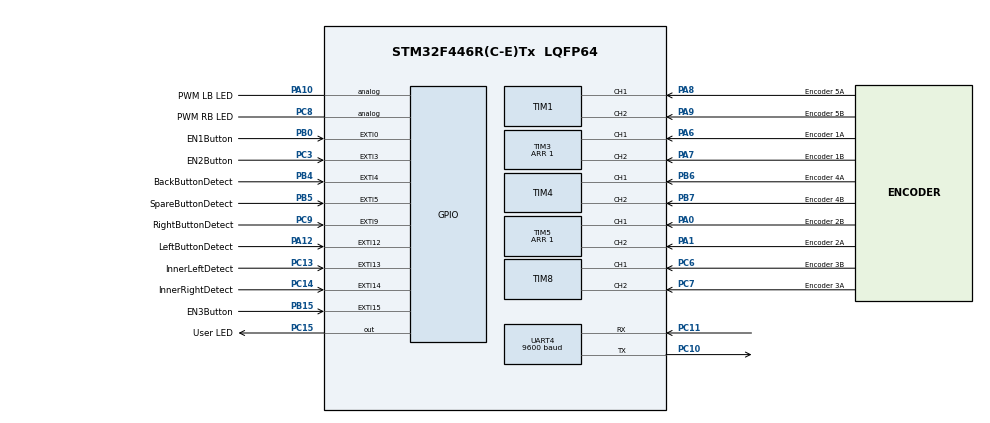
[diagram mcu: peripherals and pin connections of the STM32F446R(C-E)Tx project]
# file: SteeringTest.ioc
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Mcu.Family=STM32F4
Mcu.Name=STM32F446R(C-E)Tx
Mcu.Package=LQFP64
NVIC.EXTI0_IRQn=true\:0\:0\:false\:false\:true\:true\:true\:true
NVIC.EXTI15_10_IRQn=true\:0\:0\:false\:false\:true\:true\:true\:true
NVIC.EXTI3_IRQn=true\:0\:0\:false\:false\:true\:true\:true\:true
NVIC.EXTI4_IRQn=true\:0\:0\:false\:false\:true\:true\:true\:true
NVIC.EXTI9_5_IRQn=true\:0\:0\:false\:false\:true\:true\:true\:true
NVIC.PriorityGroup=NVIC_PRIORITYGROUP_4
NVIC.TIM1_UP_TIM10_IRQn=true\:0\:0\:false\:false\:true\:true\:true\:true
NVIC.TIM3_IRQn=true\:0\:0\:false\:false\:true\:true\:true\:true
NVIC.TIM4_IRQn=true\:0\:0\:false\:false\:true\:true\:true\:true
NVIC.TIM5_IRQn=true\:0\:0\:false\:false\:true\:true\:true\:true
NVIC.TIM6_DAC_IRQn=true\:0\:0\:false\:false\:true\:true\:true\:true
NVIC.TIM8_BRK_TIM12_IRQn=true\:0\:0\:false\:false\:true\:true\:true\:true
NVIC.TIM8_CC_IRQn=true\:0\:0\:false\:false\:true\:true\:true\:true
NVIC.TIM8_TRG_COM_TIM14_IRQn=true\:0\:0\:false\:false\:true\:true\:true\:true
NVIC.TIM8_UP_TIM13_IRQn=true\:0\:0\:false\:false\:true\:true\:true\:true
NVIC.UART4_IRQn=true\:0\:0\:false\:false\:true\:true\:true\:true
PA0-WKUP.GPIO_Label=Encoder 2B
PA0-WKUP.Signal=S_TIM5_CH1
PA1.GPIO_Label=Encoder 2A
PA1.Signal=S_TIM5_CH2
PA10.GPIO_Label=PWM LB LED
PA10.Signal=GPIO_Analog
PA12.GPIO_Label=LeftButtonDetect
PA12.GPIO_ModeDefaultEXTI=GPIO_MODE_IT_RISING
PA12.Signal=GPXTI12
PA13.Mode=Trace_Asynchronous_SW
PA13.Signal=SYS_JTMS-SWDIO
PA14.Mode=Trace_Asynchronous_SW
PA14.Signal=SYS_JTCK-SWCLK
PA6.GPIO_Label=Encoder 1A
PA6.Signal=S_TIM3_CH1
PA7.GPIO_Label=Encoder 1B
PA7.Signal=S_TIM3_CH2
PA8.GPIO_Label=Encoder 5A
PA8.Signal=S_TIM1_CH1
PA9.GPIO_Label=Encoder 5B
PA9.Signal=S_TIM1_CH2
PB0.GPIO_Label=EN1Button
PB0.Signal=GPXTI0
PB15.GPIO_Label=EN3Button
PB15.Signal=GPXTI15
PB3.Mode=Trace_Asynchronous_SW
PB3.Signal=SYS_JTDO-SWO
PB4.GPIO_Label=BackButtonDetect
PB4.Signal=GPXTI4
PB5.GPIO_Label=SpareButtonDetect
PB5.GPIO_ModeDefaultEXTI=GPIO_MODE_IT_RISING
PB5.Signal=GPXTI5
PB6.GPIO_Label=Encoder 4A
PB6.Signal=S_TIM4_CH1
PB7.GPIO_Label=Encoder 4B
PB7.Signal=S_TIM4_CH2
PC10.GPIO_PuPd=GPIO_PULLUP
PC10.Mode=Asynchronous
PC10.Signal=UART4_TX
PC11.GPIO_PuPd=GPIO_PULLUP
PC11.Mode=Asynchronous
PC11.Signal=UART4_RX
PC13.GPIO_Label=InnerLeftDetect
PC13.Signal=GPXTI13
PC14-OSC32_IN.GPIO_Label=InnerRightDetect
PC14-OSC32_IN.Signal=GPXTI14
PC15-OSC32_OUT.GPIO_Label=User LED
PC15-OSC32_OUT.Signal=GPIO_Output
PC3.GPIO_Label=EN2Button
PC3.Signal=GPXTI3
PC6.GPIO_Label=Encoder 3B
PC6.Signal=S_TIM8_CH1
PC7.GPIO_Label=Encoder 3A
PC7.Signal=S_TIM8_CH2
PC8.GPIO_Label=PWM RB LED
PC8.Signal=GPIO_Analog
PC9.GPIO_Label=RightButtonDetect
PC9.GPIO_ModeDefaultEXTI=GPIO_MODE_IT_RISING
PC9.Signal=GPXTI9
PH0-OSC_IN.Mode=HSE-External-Oscillator
PH0-OSC_IN.Signal=RCC_OSC_IN
PH1-OSC_OUT.Mode=HSE-External-Oscillator
PH1-OSC_OUT.Signal=RCC_OSC_OUT
ProjectManager.HeapSize=0x200
ProjectManager.StackSize=0x400
ProjectManager.TargetToolchain=MDK-ARM V5.32
RCC.CortexFreq_Value=16000000
RCC.HSE_VALUE=8000000
RCC.USBFreq_Value=96000000
RCC.VCOOutputFreq_Value=192000000
SH.S_TIM1_CH1.0=TIM1_CH1,Encoder_Interface
SH.S_TIM1_CH2.0=TIM1_CH2,Encoder_Interface
SH.S_TIM3_CH1.0=TIM3_CH1,Encoder_Interface
SH.S_TIM3_CH2.0=TIM3_CH2,Encoder_Interface
SH.S_TIM4_CH1.0=TIM4_CH1,Encoder_Interface
SH.S_TIM4_CH2.0=TIM4_CH2,Encoder_Interface
SH.S_TIM5_CH1.0=TIM5_CH1,Encoder_Interface
SH.S_TIM5_CH2.0=TIM5_CH2,Encoder_Interface
SH.S_TIM8_CH1.0=TIM8_CH1,Encoder_Interface
SH.S_TIM8_CH2.0=TIM8_CH2,Encoder_Interface
TIM1.AutoReloadPreload=TIM_AUTORELOAD_PRELOAD_ENABLE
TIM1.EncoderMode=TIM_ENCODERMODE_TI12
TIM1.IC1Filter=10
TIM1.IC1Polarity=TIM_ICPOLARITY_FALLING
TIM1.IC2Filter=10
TIM1.IC2Polarity=TIM_ICPOLARITY_FALLING
TIM3.EncoderMode=TIM_ENCODERMODE_TI12
TIM3.IC1Filter=15
TIM3.IC1Polarity=TIM_ICPOLARITY_FALLING
TIM3.IC1Prescaler=TIM_ICPSC_DIV1
TIM3.IC2Filter=15
TIM3.IC2Polarity=TIM_ICPOLARITY_FALLING
TIM3.IC2Prescaler=TIM_ICPSC_DIV1
TIM3.Period=1
TIM4.AutoReloadPreload=TIM_AUTORELOAD_PRELOAD_DISABLE
TIM4.EncoderMode=TIM_ENCODERMODE_TI12
TIM4.IC1Filter=10
TIM4.IC1Polarity=TIM_ICPOLARITY_FALLING
TIM4.IC2Filter=10
TIM5.AutoReloadPreload=TIM_AUTORELOAD_PRELOAD_DISABLE
TIM5.EncoderMode=TIM_ENCODERMODE_TI12
TIM5.IC1Filter=15
TIM5.IC1Polarity=TIM_ICPOLARITY_FALLING
TIM5.IC2Filter=15
TIM5.IC2Polarity=TIM_ICPOLARITY_FALLING
TIM5.Period=1
TIM6.AutoReloadPreload=TIM_AUTORELOAD_PRELOAD_ENABLE
TIM6.Period=59999
TIM6.Prescaler=15
TIM6.TIM_MasterOutputTrigger=TIM_TRGO_UPDATE
TIM8.AutoReloadPreload=TIM_AUTORELOAD_PRELOAD_ENABLE
TIM8.EncoderMode=TIM_ENCODERMODE_TI12
TIM8.IC1Filter=15
TIM8.IC1Polarity=TIM_ICPOLARITY_FALLING
TIM8.IC2Filter=15
TIM8.IC2Polarity=TIM_ICPOLARITY_FALLING
UART4.BaudRate=9600
UART4.Mode=MODE_TX
UART4.VirtualMode=Asynchronous
UART4.WordLength=WORDLENGTH_8B
VP_TIM6_VS_ClockSourceINT.Mode=Enable_Timer
board=custom

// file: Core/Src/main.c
/* USER CODE BEGIN Header */
/**
  ******************************************************************************
  * @file           : main.c
  * @brief          : Main program body
  ******************************************************************************
  * @attention
  *
  * Copyright (c) 2024 STMicroelectronics.
  * All rights reserved.
  *
  * This software is licensed under terms that can be found in the LICENSE file
  * in the root directory of this software component.
  * If no LICENSE file comes with this software, it is provided AS-IS.
  *
  ******************************************************************************
  */
/* USER CODE END Header */
#include "main.h"

/* USER CODE BEGIN Includes */
#include "stdbool.h"
#include "stdio.h"
#include "stdint.h"
#include "string.h"
/* USER CODE END Includes */

/* USER CODE BEGIN PD */

#define PRESSED 1 	//Switch-Button Pressed
#define CWRot 1		 	//Encoder Rotated Clockwise
#define CCWRot 2	 	//Encoder Rotated Counter Clockwise

#define TX_BUFFER_SIZE 16

/* USER CODE END PD */

TIM_HandleTypeDef htim1;
TIM_HandleTypeDef htim3;
TIM_HandleTypeDef htim4;
TIM_HandleTypeDef htim5;
TIM_HandleTypeDef htim6;
TIM_HandleTypeDef htim8;

UART_HandleTypeDef huart4;

/* USER CODE BEGIN PV */

typedef struct{
    uint8_t message[4];
} UART_msg_t;

uint16_t UARTmessages = 0;

UART_msg_t tx_buffer[TX_BUFFER_SIZE] = {0};
volatile uint8_t head = 0; //from here i write new data for the uart
volatile uint8_t uart_read = 0; //from here uart reads the data to send
volatile uint8_t tx_available = 1; //1 if uarts is available, 0 if is sends
/* USER CODE END PV */

void SystemClock_Config(void);
static void MX_GPIO_Init(void);
static void MX_TIM1_Init(void);
static void MX_UART4_Init(void);
static void MX_TIM3_Init(void);
static void MX_TIM4_Init(void);
static void MX_TIM5_Init(void);
static void MX_TIM8_Init(void);
static void MX_TIM6_Init(void);
/* USER CODE BEGIN PFP */
void sendVariableChange(uint8_t varID, uint8_t value);
/* USER CODE END PFP */

int main(void)
{

  /* MCU Configuration--------------------------------------------------------*/

  /* Reset of all peripherals, Initializes the Flash interface and the Systick. */
  HAL_Init();

  /* Configure the system clock */
  SystemClock_Config();

  /* Initialize all configured peripherals */
  MX_GPIO_Init();
  MX_TIM1_Init();
  MX_UART4_Init();
  MX_TIM3_Init();
  MX_TIM4_Init();
  MX_TIM5_Init();
  MX_TIM8_Init();
  MX_TIM6_Init();
  /* USER CODE BEGIN 2 */

	HAL_TIM_Base_Start_IT(&htim6);

	//Encoder1
	HAL_TIM_Encoder_Start(&htim3, TIM_CHANNEL_ALL);
	__HAL_TIM_ENABLE_IT(&htim3, TIM_IT_CC2); // Enable interrupt for Channel 1 (A)
	//__HAL_TIM_ENABLE_IT(&htim3, TIM_IT_CC2); // Enable interrupt for Channel 2 (B)
	//Encoder 2
	HAL_TIM_Encoder_Start(&htim5, TIM_CHANNEL_ALL);
	__HAL_TIM_ENABLE_IT(&htim5, TIM_IT_CC2); // Enable interrupt for Channel 1 (A)
	//__HAL_TIM_ENABLE_IT(&htim5, TIM_IT_CC1); // Enable interrupt for Channel 2 (B)
	//Encoder 3
	HAL_TIM_Encoder_Start(&htim8, TIM_CHANNEL_ALL);
	__HAL_TIM_ENABLE_IT(&htim8, TIM_IT_CC1); // Enable interrupt for Channel 1 (A)
	//__HAL_TIM_ENABLE_IT(&htim8, TIM_IT_CC1); // Enable interrupt for Channel 2 (B)
	//Encoder 4
	HAL_TIM_Encoder_Start(&htim4, TIM_CHANNEL_ALL);
	__HAL_TIM_ENABLE_IT(&htim4, TIM_IT_CC1); // Enable interrupt for Channel 1 (A)
	//__HAL_TIM_ENABLE_IT(&htim4, TIM_IT_CC2); // Enable interrupt for Channel 2 (B)
	//Encoder 5
	HAL_TIM_Encoder_Start(&htim1, TIM_CHANNEL_ALL);
	__HAL_TIM_ENABLE_IT(&htim1, TIM_IT_CC1); // Enable interrupt for Channel 1 (A)
	//__HAL_TIM_ENABLE_IT(&htim1, TIM_IT_CC2); // Enable interrupt for Channel 2 (B)

  /* USER CODE END 2 */

  /* Infinite loop */
  while (1)
  {

	}
}

void SystemClock_Config(void)
{
  RCC_OscInitTypeDef RCC_OscInitStruct = {0};
  RCC_ClkInitTypeDef RCC_ClkInitStruct = {0};

  /** Configure the main internal regulator output voltage
  */
  __HAL_RCC_PWR_CLK_ENABLE();
  __HAL_PWR_VOLTAGESCALING_CONFIG(PWR_REGULATOR_VOLTAGE_SCALE3);

  /** Initializes the RCC Oscillators according to the specified parameters
  * in the RCC_OscInitTypeDef structure.
  */
  RCC_OscInitStruct.OscillatorType = RCC_OSCILLATORTYPE_HSI;
  RCC_OscInitStruct.HSIState = RCC_HSI_ON;
  RCC_OscInitStruct.HSICalibrationValue = RCC_HSICALIBRATION_DEFAULT;
  RCC_OscInitStruct.PLL.PLLState = RCC_PLL_NONE;
  if (HAL_RCC_OscConfig(&RCC_OscInitStruct) != HAL_OK)
  {
    Error_Handler();
  }

  /** Initializes the CPU, AHB and APB buses clocks
  */
  RCC_ClkInitStruct.ClockType = RCC_CLOCKTYPE_HCLK|RCC_CLOCKTYPE_SYSCLK
                              |RCC_CLOCKTYPE_PCLK1|RCC_CLOCKTYPE_PCLK2;
  RCC_ClkInitStruct.SYSCLKSource = RCC_SYSCLKSOURCE_HSI;
  RCC_ClkInitStruct.AHBCLKDivider = RCC_SYSCLK_DIV1;
  RCC_ClkInitStruct.APB1CLKDivider = RCC_HCLK_DIV1;
  RCC_ClkInitStruct.APB2CLKDivider = RCC_HCLK_DIV1;

  if (HAL_RCC_ClockConfig(&RCC_ClkInitStruct, FLASH_LATENCY_0) != HAL_OK)
  {
    Error_Handler();
  }
}

static void MX_TIM1_Init(void)
{

  TIM_Encoder_InitTypeDef sConfig = {0};
  TIM_MasterConfigTypeDef sMasterConfig = {0};

  htim1.Instance = TIM1;
  htim1.Init.Prescaler = 0;
  htim1.Init.CounterMode = TIM_COUNTERMODE_UP;
  htim1.Init.Period = 65535;
  htim1.Init.ClockDivision = TIM_CLOCKDIVISION_DIV1;
  htim1.Init.RepetitionCounter = 0;
  htim1.Init.AutoReloadPreload = TIM_AUTORELOAD_PRELOAD_ENABLE;
  sConfig.EncoderMode = TIM_ENCODERMODE_TI12;
  sConfig.IC1Polarity = TIM_ICPOLARITY_FALLING;
  sConfig.IC1Selection = TIM_ICSELECTION_DIRECTTI;
  sConfig.IC1Prescaler = TIM_ICPSC_DIV1;
  sConfig.IC1Filter = 10;
  sConfig.IC2Polarity = TIM_ICPOLARITY_FALLING;
  sConfig.IC2Selection = TIM_ICSELECTION_DIRECTTI;
  sConfig.IC2Prescaler = TIM_ICPSC_DIV1;
  sConfig.IC2Filter = 10;
  if (HAL_TIM_Encoder_Init(&htim1, &sConfig) != HAL_OK)
  {
    Error_Handler();
  }
  sMasterConfig.MasterOutputTrigger = TIM_TRGO_RESET;
  sMasterConfig.MasterSlaveMode = TIM_MASTERSLAVEMODE_DISABLE;
  if (HAL_TIMEx_MasterConfigSynchronization(&htim1, &sMasterConfig) != HAL_OK)
  {
    Error_Handler();
  }

}

static void MX_TIM3_Init(void)
{

  TIM_Encoder_InitTypeDef sConfig = {0};
  TIM_MasterConfigTypeDef sMasterConfig = {0};

  htim3.Instance = TIM3;
  htim3.Init.Prescaler = 0;
  htim3.Init.CounterMode = TIM_COUNTERMODE_UP;
  htim3.Init.Period = 1;
  htim3.Init.ClockDivision = TIM_CLOCKDIVISION_DIV1;
  htim3.Init.AutoReloadPreload = TIM_AUTORELOAD_PRELOAD_DISABLE;
  sConfig.EncoderMode = TIM_ENCODERMODE_TI12;
  sConfig.IC1Polarity = TIM_ICPOLARITY_FALLING;
  sConfig.IC1Selection = TIM_ICSELECTION_DIRECTTI;
  sConfig.IC1Prescaler = TIM_ICPSC_DIV1;
  sConfig.IC1Filter = 15;
  sConfig.IC2Polarity = TIM_ICPOLARITY_FALLING;
  sConfig.IC2Selection = TIM_ICSELECTION_DIRECTTI;
  sConfig.IC2Prescaler = TIM_ICPSC_DIV1;
  sConfig.IC2Filter = 15;
  if (HAL_TIM_Encoder_Init(&htim3, &sConfig) != HAL_OK)
  {
    Error_Handler();
  }
  sMasterConfig.MasterOutputTrigger = TIM_TRGO_RESET;
  sMasterConfig.MasterSlaveMode = TIM_MASTERSLAVEMODE_DISABLE;
  if (HAL_TIMEx_MasterConfigSynchronization(&htim3, &sMasterConfig) != HAL_OK)
  {
    Error_Handler();
  }

}

static void MX_TIM4_Init(void)
{

  TIM_Encoder_InitTypeDef sConfig = {0};
  TIM_MasterConfigTypeDef sMasterConfig = {0};

  htim4.Instance = TIM4;
  htim4.Init.Prescaler = 0;
  htim4.Init.CounterMode = TIM_COUNTERMODE_UP;
  htim4.Init.Period = 65535;
  htim4.Init.ClockDivision = TIM_CLOCKDIVISION_DIV1;
  htim4.Init.AutoReloadPreload = TIM_AUTORELOAD_PRELOAD_DISABLE;
  sConfig.EncoderMode = TIM_ENCODERMODE_TI12;
  sConfig.IC1Polarity = TIM_ICPOLARITY_FALLING;
  sConfig.IC1Selection = TIM_ICSELECTION_DIRECTTI;
  sConfig.IC1Prescaler = TIM_ICPSC_DIV1;
  sConfig.IC1Filter = 10;
  sConfig.IC2Polarity = TIM_ICPOLARITY_RISING;
  sConfig.IC2Selection = TIM_ICSELECTION_DIRECTTI;
  sConfig.IC2Prescaler = TIM_ICPSC_DIV1;
  sConfig.IC2Filter = 10;
  if (HAL_TIM_Encoder_Init(&htim4, &sConfig) != HAL_OK)
  {
    Error_Handler();
  }
  sMasterConfig.MasterOutputTrigger = TIM_TRGO_RESET;
  sMasterConfig.MasterSlaveMode = TIM_MASTERSLAVEMODE_DISABLE;
  if (HAL_TIMEx_MasterConfigSynchronization(&htim4, &sMasterConfig) != HAL_OK)
  {
    Error_Handler();
  }

}

static void MX_TIM5_Init(void)
{

  TIM_Encoder_InitTypeDef sConfig = {0};
  TIM_MasterConfigTypeDef sMasterConfig = {0};

  htim5.Instance = TIM5;
  htim5.Init.Prescaler = 0;
  htim5.Init.CounterMode = TIM_COUNTERMODE_UP;
  htim5.Init.Period = 1;
  htim5.Init.ClockDivision = TIM_CLOCKDIVISION_DIV1;
  htim5.Init.AutoReloadPreload = TIM_AUTORELOAD_PRELOAD_DISABLE;
  sConfig.EncoderMode = TIM_ENCODERMODE_TI12;
  sConfig.IC1Polarity = TIM_ICPOLARITY_FALLING;
  sConfig.IC1Selection = TIM_ICSELECTION_DIRECTTI;
  sConfig.IC1Prescaler = TIM_ICPSC_DIV1;
  sConfig.IC1Filter = 15;
  sConfig.IC2Polarity = TIM_ICPOLARITY_FALLING;
  sConfig.IC2Selection = TIM_ICSELECTION_DIRECTTI;
  sConfig.IC2Prescaler = TIM_ICPSC_DIV1;
  sConfig.IC2Filter = 15;
  if (HAL_TIM_Encoder_Init(&htim5, &sConfig) != HAL_OK)
  {
    Error_Handler();
  }
  sMasterConfig.MasterOutputTrigger = TIM_TRGO_RESET;
  sMasterConfig.MasterSlaveMode = TIM_MASTERSLAVEMODE_DISABLE;
  if (HAL_TIMEx_MasterConfigSynchronization(&htim5, &sMasterConfig) != HAL_OK)
  {
    Error_Handler();
  }

}

static void MX_TIM6_Init(void)
{

  TIM_MasterConfigTypeDef sMasterConfig = {0};

  htim6.Instance = TIM6;
  htim6.Init.Prescaler = 15;
  htim6.Init.CounterMode = TIM_COUNTERMODE_UP;
  htim6.Init.Period = 59999;
  htim6.Init.AutoReloadPreload = TIM_AUTORELOAD_PRELOAD_ENABLE;
  if (HAL_TIM_Base_Init(&htim6) != HAL_OK)
  {
    Error_Handler();
  }
  sMasterConfig.MasterOutputTrigger = TIM_TRGO_UPDATE;
  sMasterConfig.MasterSlaveMode = TIM_MASTERSLAVEMODE_DISABLE;
  if (HAL_TIMEx_MasterConfigSynchronization(&htim6, &sMasterConfig) != HAL_OK)
  {
    Error_Handler();
  }

}

static void MX_TIM8_Init(void)
{

  TIM_Encoder_InitTypeDef sConfig = {0};
  TIM_MasterConfigTypeDef sMasterConfig = {0};

  htim8.Instance = TIM8;
  htim8.Init.Prescaler = 0;
  htim8.Init.CounterMode = TIM_COUNTERMODE_UP;
  htim8.Init.Period = 65535;
  htim8.Init.ClockDivision = TIM_CLOCKDIVISION_DIV1;
  htim8.Init.RepetitionCounter = 0;
  htim8.Init.AutoReloadPreload = TIM_AUTORELOAD_PRELOAD_ENABLE;
  sConfig.EncoderMode = TIM_ENCODERMODE_TI12;
  sConfig.IC1Polarity = TIM_ICPOLARITY_FALLING;
  sConfig.IC1Selection = TIM_ICSELECTION_DIRECTTI;
  sConfig.IC1Prescaler = TIM_ICPSC_DIV1;
  sConfig.IC1Filter = 15;
  sConfig.IC2Polarity = TIM_ICPOLARITY_FALLING;
  sConfig.IC2Selection = TIM_ICSELECTION_DIRECTTI;
  sConfig.IC2Prescaler = TIM_ICPSC_DIV1;
  sConfig.IC2Filter = 15;
  if (HAL_TIM_Encoder_Init(&htim8, &sConfig) != HAL_OK)
  {
    Error_Handler();
  }
  sMasterConfig.MasterOutputTrigger = TIM_TRGO_RESET;
  sMasterConfig.MasterSlaveMode = TIM_MASTERSLAVEMODE_DISABLE;
  if (HAL_TIMEx_MasterConfigSynchronization(&htim8, &sMasterConfig) != HAL_OK)
  {
    Error_Handler();
  }

}

static void MX_UART4_Init(void)
{

  huart4.Instance = UART4;
  huart4.Init.BaudRate = 9600;
  huart4.Init.WordLength = UART_WORDLENGTH_8B;
  huart4.Init.StopBits = UART_STOPBITS_1;
  huart4.Init.Parity = UART_PARITY_NONE;
  huart4.Init.Mode = UART_MODE_TX;
  huart4.Init.HwFlowCtl = UART_HWCONTROL_NONE;
  huart4.Init.OverSampling = UART_OVERSAMPLING_16;
  if (HAL_UART_Init(&huart4) != HAL_OK)
  {
    Error_Handler();
  }

}

static void MX_GPIO_Init(void)
{
  GPIO_InitTypeDef GPIO_InitStruct = {0};

  /* GPIO Ports Clock Enable */
  __HAL_RCC_GPIOC_CLK_ENABLE();
  __HAL_RCC_GPIOH_CLK_ENABLE();
  __HAL_RCC_GPIOA_CLK_ENABLE();
  __HAL_RCC_GPIOB_CLK_ENABLE();

  /*Configure GPIO pin Output Level */
  HAL_GPIO_WritePin(User_LED_GPIO_Port, User_LED_Pin, GPIO_PIN_RESET);

  /*Configure GPIO pins : InnerLeftDetect_Pin InnerRightDetect_Pin EN2Button_Pin RightButtonDetect_Pin */
  GPIO_InitStruct.Pin = InnerLeftDetect_Pin|InnerRightDetect_Pin|EN2Button_Pin|RightButtonDetect_Pin;
  GPIO_InitStruct.Mode = GPIO_MODE_IT_RISING;
  GPIO_InitStruct.Pull = GPIO_NOPULL;
  HAL_GPIO_Init(GPIOC, &GPIO_InitStruct);

  /*Configure GPIO pin : User_LED_Pin */
  GPIO_InitStruct.Pin = User_LED_Pin;
  GPIO_InitStruct.Mode = GPIO_MODE_OUTPUT_PP;
  GPIO_InitStruct.Pull = GPIO_NOPULL;
  GPIO_InitStruct.Speed = GPIO_SPEED_FREQ_LOW;
  HAL_GPIO_Init(User_LED_GPIO_Port, &GPIO_InitStruct);

  /*Configure GPIO pins : EN1Button_Pin EN3Button_Pin BackButtonDetect_Pin SpareButtonDetect_Pin */
  GPIO_InitStruct.Pin = EN1Button_Pin|EN3Button_Pin|BackButtonDetect_Pin|SpareButtonDetect_Pin;
  GPIO_InitStruct.Mode = GPIO_MODE_IT_RISING;
  GPIO_InitStruct.Pull = GPIO_NOPULL;
  HAL_GPIO_Init(GPIOB, &GPIO_InitStruct);

  /*Configure GPIO pin : PWM_RB_LED_Pin */
  GPIO_InitStruct.Pin = PWM_RB_LED_Pin;
  GPIO_InitStruct.Mode = GPIO_MODE_ANALOG;
  GPIO_InitStruct.Pull = GPIO_NOPULL;
  HAL_GPIO_Init(PWM_RB_LED_GPIO_Port, &GPIO_InitStruct);

  /*Configure GPIO pin : PWM_LB_LED_Pin */
  GPIO_InitStruct.Pin = PWM_LB_LED_Pin;
  GPIO_InitStruct.Mode = GPIO_MODE_ANALOG;
  GPIO_InitStruct.Pull = GPIO_NOPULL;
  HAL_GPIO_Init(PWM_LB_LED_GPIO_Port, &GPIO_InitStruct);

  /*Configure GPIO pin : LeftButtonDetect_Pin */
  GPIO_InitStruct.Pin = LeftButtonDetect_Pin;
  GPIO_InitStruct.Mode = GPIO_MODE_IT_RISING;
  GPIO_InitStruct.Pull = GPIO_NOPULL;
  HAL_GPIO_Init(LeftButtonDetect_GPIO_Port, &GPIO_InitStruct);

  /* EXTI interrupt init*/
  HAL_NVIC_SetPriority(EXTI0_IRQn, 0, 0);
  HAL_NVIC_EnableIRQ(EXTI0_IRQn);

  HAL_NVIC_SetPriority(EXTI3_IRQn, 0, 0);
  HAL_NVIC_EnableIRQ(EXTI3_IRQn);

  HAL_NVIC_SetPriority(EXTI4_IRQn, 0, 0);
  HAL_NVIC_EnableIRQ(EXTI4_IRQn);

  HAL_NVIC_SetPriority(EXTI9_5_IRQn, 0, 0);
  HAL_NVIC_EnableIRQ(EXTI9_5_IRQn);

  HAL_NVIC_SetPriority(EXTI15_10_IRQn, 0, 0);
  HAL_NVIC_EnableIRQ(EXTI15_10_IRQn);

}

/* USER CODE BEGIN 4 */

//UART Message IDs
uint8_t EN1_ID=0x01;	//Encoder1
uint8_t EN2_ID=0x02;	//Encoder2
uint8_t EN3_ID=0x03;	//Encoder3
uint8_t EN4_ID=0x04;	//Encoder4
uint8_t EN5_ID=0x05;	//Encoder5
uint8_t S1_ID=0x06;		//Encoder1Switch
uint8_t S2_ID=0x07;		//Encoder2Switch
uint8_t RB_ID=0x08; 	//Right Button
uint8_t LB_ID=0x09; 	//Left Button
uint8_t BB_ID=0x0A;		//Back Button
uint8_t SB_ID=0x0B;		//Spare Button
uint8_t S3_ID=0x0C;		//Encoder3Switch
uint8_t IR_ID=0x0D;		//Inner Right Button
uint8_t IL_ID=0x0E;		//Inner Left Button

void HAL_GPIO_EXTI_Callback(uint16_t GPIO_Pin)
{
			if (GPIO_Pin == GPIO_PIN_0){ //Check if EN1 Button is pressed
					sendVariableChange(S1_ID, PRESSED);
			}
			else if (GPIO_Pin == GPIO_PIN_3){ //Check if EN2 Button is pressed
					sendVariableChange(S2_ID, PRESSED);
			}
			else if (GPIO_Pin == GPIO_PIN_15){ //Check if EN3 Button is pressed
					sendVariableChange(S3_ID, PRESSED);
			}
			else if (GPIO_Pin == GPIO_PIN_9){ //Check if Right Button is pressed
					sendVariableChange(LB_ID, PRESSED);
			}
			else if (GPIO_Pin == GPIO_PIN_12){ //Check if Left Button is pressed
					sendVariableChange(RB_ID,PRESSED);
			}
			else if (GPIO_Pin == GPIO_PIN_13){ //Check if Inner Left Button is pressed
					sendVariableChange(IL_ID, PRESSED);
			}
			else if (GPIO_Pin == GPIO_PIN_14){ //Check if Inner Right Button is pressed
					sendVariableChange(IR_ID, PRESSED);
			}
			else if (GPIO_Pin == GPIO_PIN_5){ //Check if Spare Button is pressed
					sendVariableChange(SB_ID, PRESSED);
			}
			else if (GPIO_Pin == GPIO_PIN_4){ //Check if Back Button is pressed
					sendVariableChange(BB_ID, PRESSED);
			}
}

void HAL_TIM_PeriodElapsedCallback(TIM_HandleTypeDef *htim) //It can be changed to EXTI 4 if EN1 changes to EXTI0
{
  /*if((htim->Instance) == TIM6){ //60ms Interrupt to check Buttons-Switches Status
			if (HAL_GPIO_ReadPin(GPIOB, GPIO_PIN_4)==PRESSED){ //Check if Back Button is pressed
					sendVariableChange(BB_ID, PRESSED);
			}
	}*/
}

void HAL_TIM_IC_CaptureCallback(TIM_HandleTypeDef *htim) {

		if (htim->Instance == TIM1) {  //Check if interrupt is from TIM1
			if ((__HAL_TIM_IS_TIM_COUNTING_DOWN(htim))) {  //CW Rotation
					sendVariableChange(EN5_ID, CCWRot);
					HAL_GPIO_WritePin(GPIOC, GPIO_PIN_15, GPIO_PIN_SET);
        }
			else if 	(!(__HAL_TIM_IS_TIM_COUNTING_DOWN(htim))) {  //CCW Rotation
					sendVariableChange(EN5_ID, CWRot);
					HAL_GPIO_WritePin(GPIOC, GPIO_PIN_15, GPIO_PIN_RESET);
        }
    }

		if (htim->Instance == TIM3) {  //Check if interrupt is from TIM3
			if (!(__HAL_TIM_IS_TIM_COUNTING_DOWN(htim))) {  //CW Rotation
					sendVariableChange(EN1_ID, CWRot);
					HAL_GPIO_WritePin(GPIOC, GPIO_PIN_15, GPIO_PIN_SET);
        }
			else if 	((__HAL_TIM_IS_TIM_COUNTING_DOWN(htim))) {  //CCW Rotation
					sendVariableChange(EN1_ID, CCWRot);
          HAL_GPIO_WritePin(GPIOC, GPIO_PIN_15, GPIO_PIN_RESET);
        }
    }
/*
    if (htim->Instance == TIM3) {  //Check if interrupt is from TIM3
			if ((__HAL_TIM_IS_TIM_COUNTING_DOWN(htim))) {  //CW Rotation
					sendVariableChange(EN1_ID, CCWRot);
					HAL_GPIO_WritePin(GPIOC, GPIO_PIN_15, GPIO_PIN_SET);
        }
			else if 	(!(__HAL_TIM_IS_TIM_COUNTING_DOWN(htim))) {  //CCW Rotation
					sendVariableChange(EN1_ID, CWRot);
					HAL_GPIO_WritePin(GPIOC, GPIO_PIN_15, GPIO_PIN_RESET);
        }
    }
		*/

		if (htim->Instance == TIM4) {  //Check if interrupt is from TIM4
			if ((__HAL_TIM_IS_TIM_COUNTING_DOWN(htim))) {  //CW Rotation
					sendVariableChange(EN4_ID, CCWRot);
					HAL_GPIO_WritePin(GPIOC, GPIO_PIN_15, GPIO_PIN_SET);
        }
			else if 	((__HAL_TIM_IS_TIM_COUNTING_DOWN(htim))) {  //CCW Rotation
					sendVariableChange(EN4_ID, CWRot);
					HAL_GPIO_WritePin(GPIOC, GPIO_PIN_15, GPIO_PIN_RESET);
        }
    }

		if (htim->Instance == TIM5) {  //Check if interrupt is from TIM5
			if ((__HAL_TIM_IS_TIM_COUNTING_DOWN(htim))) {  //CW Rotation
					sendVariableChange(EN2_ID, CWRot);
					HAL_GPIO_WritePin(GPIOC, GPIO_PIN_15, GPIO_PIN_SET);
        }
			else if 	(!(__HAL_TIM_IS_TIM_COUNTING_DOWN(htim))) {  //CCW Rotation
          sendVariableChange(EN2_ID, CCWRot);
					HAL_GPIO_WritePin(GPIOC, GPIO_PIN_15, GPIO_PIN_RESET);
        }
    }

		if (htim->Instance == TIM8) {  //Check if interrupt is from TIM5
			if (!(__HAL_TIM_IS_TIM_COUNTING_DOWN(htim))) {  //CW Rotation
					sendVariableChange(EN3_ID, CWRot);
					HAL_GPIO_WritePin(GPIOC, GPIO_PIN_15, GPIO_PIN_SET);
        }
			else if 	((__HAL_TIM_IS_TIM_COUNTING_DOWN(htim))) {  //CCW Rotation
					sendVariableChange(EN3_ID, CCWRot);
          HAL_GPIO_WritePin(GPIOC, GPIO_PIN_15, GPIO_PIN_RESET);
        }
    }

}

void sendVariableChange(uint8_t varID, uint8_t value) {
    uint8_t next_head = (head + 1) % TX_BUFFER_SIZE;
    if(next_head == uart_read){
        //queue is full, so just exit
        //normally, i will never get here, as i have set buffer size to 16.
        //this means, that in order to get in this if statement, the uart must have 16 messages in the buffer to send
        //probably too many for our steering application
        return;
    }
	tx_buffer[head].message[0] = 0xAA;                     // Start byte
    tx_buffer[head].message[1] = varID;                   // Variable ID
	tx_buffer[head].message[2] = value;
    tx_buffer[head].message[3] = 0xAA ^ varID ^ value; // Checksum using XOR

    head = next_head;
    //Because i send via uart, it means the user pressed a key..in order not to get any conflicts with more presses not being executed,
    //i simply disable interrupts, send the message and enable them again
    //not sure if its necessarily needed, keep it for now as it seems right to me
    //Also, if an interrupt occurs while i have disabled them, im not losing the interrupt, it just doesnt occur exactly at that moment
    __disable_irq();
		if (tx_available){
			tx_available = 0;
			if (HAL_UART_Transmit_IT(&huart4, tx_buffer[uart_read].message, 4) != HAL_OK){
					Error_Handler();
			}
		}
    __enable_irq();
    UARTmessages += 1; //I assume that this variable is just for debug mode?
}

void HAL_UART_TxCpltCallback(UART_HandleTypeDef *huart){
    uart_read = (uart_read + 1) % TX_BUFFER_SIZE;
    if(head != uart_read){
	    HAL_UART_Transmit_IT(&huart4, tx_buffer[uart_read].message, 4);
    }
    else{
        tx_available = 1;
    }
}
/* USER CODE END 4 */

void Error_Handler(void)
{
  __disable_irq();
  while (1)
  {
  }
}
